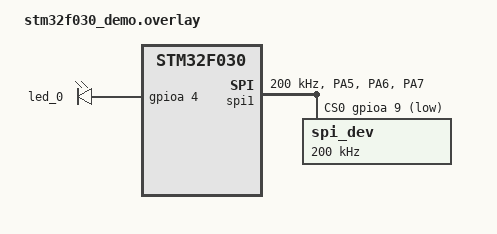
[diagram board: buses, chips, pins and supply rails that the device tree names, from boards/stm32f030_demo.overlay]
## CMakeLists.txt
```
cmake_minimum_required(VERSION 3.20.0)

set(BOARD stm32f030_demo)
set(DTO_DIR ${CMAKE_CURRENT_SOURCE_DIR}/boards)
set(DTC_OVERLAY_FILE ${DTO_DIR}/stm32f030_demo.overlay)
find_package(Zephyr REQUIRED HINTS $ENV{ZEPHYR_BASE})

project(spi)

target_sources(app PRIVATE src/main.c)
```

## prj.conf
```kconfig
CONFIG_STDOUT_CONSOLE=y
CONFIG_GPIO=y
CONFIG_SPI=y
CONFIG_SPI_STM32=y
```

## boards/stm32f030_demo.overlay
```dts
/{
    leds {
        compatible = "gpio-leds";
        led_0:led_0 {
            gpios = <&gpioa 4 GPIO_ACTIVE_HIGH>;
        };
    };
};



&spi1{
    status = "okay";
    pinctrl-0 = <&SPI1_DF_SCK &SPI1_DF_MISO &SPI1_DF_MOSI>;
    pinctrl-names="default";
    cs-gpios = <&gpioa 9 GPIO_ACTIVE_LOW>;
    clock-frequency = <200000>;
    
    spi_dev:spi_dev@0{
        //compatible = "st,stm32-spi";
        reg = <0>;
        spi-max-frequency = <200000>;
        label = "spi_dev";
    };

};

&pinctrl {
    SPI1_DF_SCK: SPI1_DF_SCK {
        pinmux = <STM32_PINMUX('A',5,AF0)>;  // PA5 SPI1_SCK
    };
    SPI1_DF_MISO: SPI1_DF_MISO {
        pinmux = <STM32_PINMUX('A',6,AF0)>;  // PA6 SPI1_MISO
    };
    SPI1_DF_MOSI: SPI1_DF_MOSI {
        pinmux = <STM32_PINMUX('A',7,AF0)>;  // PA7 SPI1_MOSI
    };
       
        
};
```

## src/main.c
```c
#include <zephyr/kernel.h>
#include <zephyr/sys/printk.h>
#include <zephyr/drivers/gpio.h>
#include <zephyr/device.h>  
#include <zephyr/drivers/spi.h>

#define SPI_DEV DT_NODELABEL(spi_dev)

#define SPI_OPERATION (SPI_WORD_SET(8) | SPI_TRANSFER_MSB | SPI_OP_MODE_MASTER)

#define SPI_CS_DELAY 0

//static const struct spi_dt_spec spi = SPI_DT_SPEC_GET(SPI_DEV,SPI_OPERATION,SPI_CS_DELAY);


const struct spi_config spi_cfg = {
    .frequency = DT_PROP(DT_NODELABEL(spi1), clock_frequency),
    .operation = SPI_OP_MODE_MASTER | SPI_TRANSFER_MSB | SPI_WORD_SET(8),
    .cs = SPI_CS_CONTROL_INIT(DT_NODELABEL(spi1), 10),
};

const struct device *spi = DEVICE_DT_GET(SPI_DEV);



int main(void) {
    uint8_t cmd = 0x88;
    struct spi_buf tx_buffer = {.buf = &cmd, .len = 1};
    struct spi_buf_set buff_set = {.buffers = &tx_buffer, .count = 1};
    while (1) {
        spi_write (spi, &spi_cfg, &buff_set);
        k_sleep(K_MSEC(250));

    }
}
```
